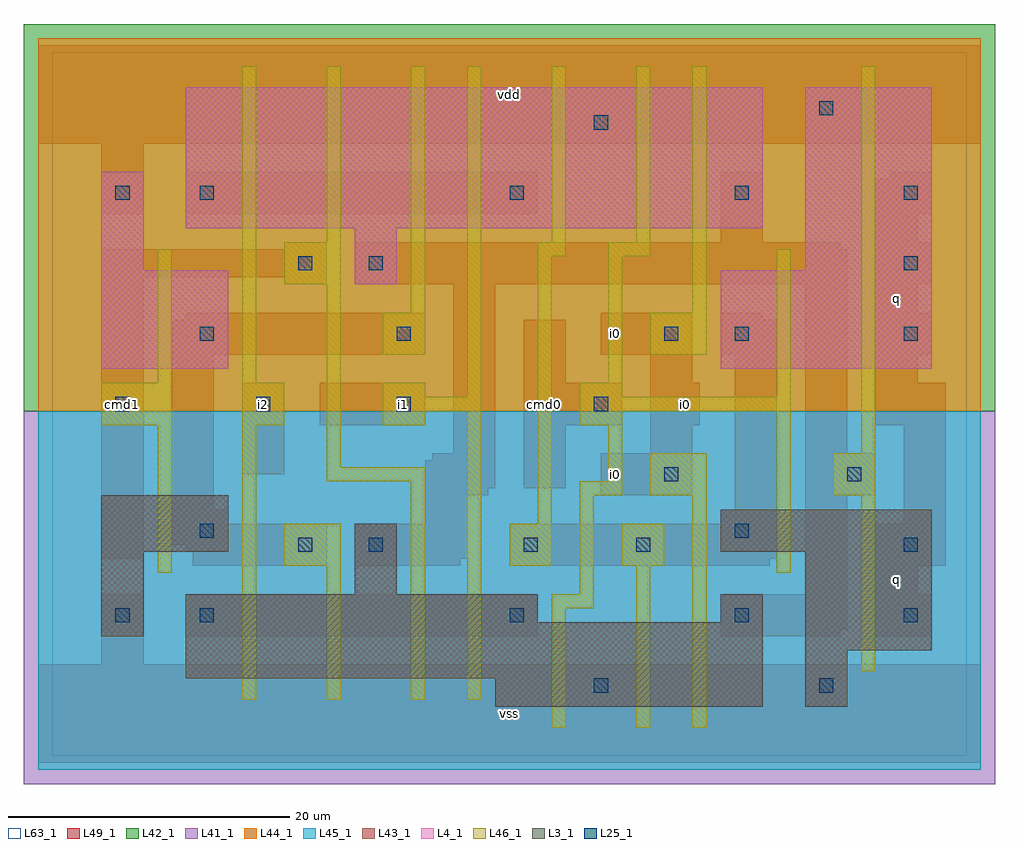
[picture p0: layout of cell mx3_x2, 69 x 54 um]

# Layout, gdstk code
import gdstk
lib = gdstk.Library(unit=1e-6, precision=1e-09)
def R(c, l, rs):  # rectangles x0, y0, x1, y1
    for r in rs: c.add(gdstk.rectangle(r[:2], r[2:], *l))
def A(c, l, x, y, w, h, nx, ny, dx, dy):  # array of equal rectangles
    R(c, l, [(x+i*dx, y+j*dy, x+i*dx+w, y+j*dy+h) for i in range(nx) for j in range(ny)])
L3_1 = (3, 1)
L4_1 = (4, 1)
L25_1 = (25, 1)
L41_1 = (41, 1)
L42_1 = (42, 1)
L43_1 = (43, 1)
L44_1 = (44, 1)
L45_1 = (45, 1)
L46_1 = (46, 1)
L49_1 = (49, 1)
L63_1 = (63, 1)

mx3_x2 = lib.new_cell('mx3_x2')
R(mx3_x2, L3_1, [(31.5,3.5,50.5,5.5), (53.5,3.5,56.5,7.5), (9.5,5.5,50.5,9.5), (53.5,7.5,62.5,14.5), (3.5,8.5,6.5,14.5), (9.5,9.5,34.5,11.5), (47.5,9.5,50.5,11.5), (21.5,11.5,24.5,16.5), (3.5,14.5,12.5,18.5), (47.5,14.5,62.5,17.5)])
R(mx3_x2, L4_1, [(3.5,27.5,12.5,34.5), (47.5,27.5,62.5,34.5), (21.5,33.5,24.5,37.5), (3.5,34.5,6.5,41.5), (53.5,34.5,62.5,47.5), (9.5,37.5,50.5,47.5)])
A(mx3_x2, L25_1, 38.5, 4.5, 1, 1, 1, 3, 0, 20)
A(mx3_x2, L25_1, 4.5, 24.5, 1, 1, 3, 1, 10, 0)
A(mx3_x2, L25_1, 60.5, 29.5, 1, 1, 1, 3, 0, 5)
R(mx3_x2, L25_1, [(54.5,4.5,55.5,5.5), (4.5,9.5,5.5,10.5), (10.5,9.5,11.5,10.5), (32.5,9.5,33.5,10.5), (48.5,9.5,49.5,10.5), (60.5,9.5,61.5,10.5), (17.5,14.5,18.5,15.5), (22.5,14.5,23.5,15.5), (33.5,14.5,34.5,15.5), (41.5,14.5,42.5,15.5), (60.5,14.5,61.5,15.5), (10.5,15.5,11.5,16.5), (48.5,15.5,49.5,16.5), (43.5,19.5,44.5,20.5), (56.5,19.5,57.5,20.5), (10.5,29.5,11.5,30.5), (24.5,29.5,25.5,30.5), (43.5,29.5,44.5,30.5), (48.5,29.5,49.5,30.5), (17.5,34.5,18.5,35.5), (22.5,34.5,23.5,35.5), (4.5,39.5,5.5,40.5), (10.5,39.5,11.5,40.5), (32.5,39.5,33.5,40.5), (48.5,39.5,49.5,40.5), (54.5,45.5,55.5,46.5)])
R(mx3_x2, L41_1, [(-2,-2,67,24.5)])
R(mx3_x2, L42_1, [(-2,24.5,67,52)])
R(mx3_x2, L43_1, [(31.5,3.5,50.5,5.5), (53.5,3.5,56.5,7.5), (9.5,5.5,50.5,9.5), (53.5,7.5,62.5,14.5), (3.5,8.5,6.5,14.5), (9.5,9.5,34.5,11.5), (47.5,9.5,50.5,11.5), (21.5,11.5,24.5,16.5), (3.5,14.5,12.5,18.5), (47.5,14.5,62.5,17.5), (3.5,27.5,12.5,34.5), (47.5,27.5,62.5,34.5), (21.5,33.5,24.5,37.5), (3.5,34.5,6.5,41.5), (53.5,34.5,62.5,47.5), (9.5,37.5,50.5,47.5)])
R(mx3_x2, L44_1, [(-1,24.5,66,51)])
R(mx3_x2, L45_1, [(-1,-1,66,24.5)])
R(mx3_x2, L46_1, [(35.5,2,36.5,10.5), (41.5,2,42.5,13.5), (45.5,2,46.5,18.5), (13.5,4,14.5,23.5), (19.5,4,20.5,13.5), (25.5,4,26.5,19.5), (29.5,4,30.5,24.5), (57.5,6,58.5,18.5), (35.5,10.5,38.5,11.5), (37.5,11.5,38.5,18.5), (7.5,13,8.5,23.5), (51.5,13,52.5,24.5), (16.5,13.5,20.5,16.5), (32.5,13.5,35.5,16.5), (40.5,13.5,43.5,16.5), (34.5,16.5,35.5,35.5), (37.5,18.5,40.5,19.5), (42.5,18.5,46.5,21.5), (55.5,18.5,58.5,21.5), (19.5,19.5,26.5,20.5), (39.5,19.5,40.5,23.5), (19.5,20.5,20.5,33.5), (57.5,21.5,58.5,49), (3.5,23.5,8.5,26.5), (13.5,23.5,16.5,26.5), (23.5,23.5,26.5,24.5), (37.5,23.5,40.5,24.5), (23.5,24.5,30.5,25.5), (37.5,24.5,52.5,25.5), (23.5,25.5,26.5,26.5), (29.5,25.5,30.5,49), (37.5,25.5,40.5,26.5), (51.5,25.5,52.5,36), (7.5,26.5,8.5,36), (13.5,26.5,14.5,49), (39.5,26.5,40.5,35.5), (23.5,28.5,26.5,31.5), (42.5,28.5,46.5,31.5), (25.5,31.5,26.5,49), (45.5,31.5,46.5,49), (16.5,33.5,20.5,36.5), (34.5,35.5,36.5,36.5), (39.5,35.5,42.5,36.5), (19.5,36.5,20.5,49), (35.5,36.5,36.5,49), (41.5,36.5,42.5,49)])
A(mx3_x2, L49_1, 58.5, 26.5, 3, 2, 1, 3, 0, 5)
R(mx3_x2, L49_1, [(-1,-0.5,66,6.5), (3.5,6.5,6.5,11.5), (9.5,8.5,34.5,11.5), (47.5,8.5,56,9), (58.5,8.5,62.5,11.5), (47.5,9,56.5,11.5), (53.5,11.5,56.5,18.5), (58.5,11.5,61.5,13.5), (10,13.5,19.5,14.5), (21.5,13.5,29,14), (32.5,13.5,51,14), (58.5,13.5,63.5,16.5), (3.5,14,6.5,34), (21.5,14,29.5,16.5), (32.5,14,51.5,16.5), (9.5,14.5,19.5,15), (8.5,15,19.5,16.5), (8.5,16.5,12.5,17.5), (26.5,16.5,29.5,18.5), (47.5,16.5,51.5,17.5), (60.5,16.5,63.5,23.5), (8.5,17.5,11.5,28.5), (48.5,17.5,51.5,28.5), (26.5,18.5,31,19), (39,18.5,45.5,21.5), (53.5,18.5,58.5,21.5), (26.5,19,31.5,21), (33.5,19,36.5,23.5), (13.5,20,16.5,26.5), (27,21,31.5,21.5), (28.5,21.5,31.5,33.5), (42.5,21.5,45.5,23.5), (53.5,21.5,56.5,33.5), (19,23.5,26.5,26.5), (33.5,23.5,40.5,26.5), (42.5,23.5,46,26.5), (58.5,23.5,63.5,26.5), (33.5,26.5,36.5,31), (42.5,26.5,45.5,28.5), (8.5,28.5,26.5,31), (39,28.5,45.5,31.5), (47.5,28.5,51.5,31), (58.5,28.5,62.5,31.5), (9.5,31,26.5,31.5), (47.5,31,50.5,31.5), (16.5,33.5,19.5,34), (21.5,33.5,56.5,36), (58.5,33.5,62.5,36.5), (3.5,34,19.5,36), (16.5,36,19.5,36.5), (21.5,36,56,36.5), (47.5,36.5,50.5,41.5), (3.5,38.5,6.5,43.5), (9.5,38.5,34.5,41.5), (58.5,38.5,62.5,41), (59.5,41,62.5,41.5), (-1,43.5,66,50.5)])
R(mx3_x2, L63_1, [(0,0,65,50)])
mx3_x2.add(gdstk.Label('cmd1', (5,25), layer=49, texttype=1))
mx3_x2.add(gdstk.Label('cmd1', (5,25), layer=49, texttype=1))
mx3_x2.add(gdstk.Label('i2', (15,25), layer=49, texttype=1))
mx3_x2.add(gdstk.Label('i2', (15,25), layer=49, texttype=1))
mx3_x2.add(gdstk.Label('vss', (32.5,3), layer=49, texttype=1))
mx3_x2.add(gdstk.Label('vss', (32.5,3), layer=49, texttype=1))
mx3_x2.add(gdstk.Label('i1', (25,25), layer=49, texttype=1))
mx3_x2.add(gdstk.Label('i1', (25,25), layer=49, texttype=1))
mx3_x2.add(gdstk.Label('cmd0', (35,25), layer=49, texttype=1))
mx3_x2.add(gdstk.Label('cmd0', (35,25), layer=49, texttype=1))
mx3_x2.add(gdstk.Label('vdd', (32.5,47), layer=49, texttype=1))
mx3_x2.add(gdstk.Label('vdd', (32.5,47), layer=49, texttype=1))
mx3_x2.add(gdstk.Label('i0', (40,20), layer=49, texttype=1))
mx3_x2.add(gdstk.Label('i0', (40,20), layer=49, texttype=1))
mx3_x2.add(gdstk.Label('i0', (45,25), layer=49, texttype=1))
mx3_x2.add(gdstk.Label('i0', (45,25), layer=49, texttype=1))
mx3_x2.add(gdstk.Label('i0', (40,30), layer=49, texttype=1))
mx3_x2.add(gdstk.Label('i0', (40,30), layer=49, texttype=1))
mx3_x2.add(gdstk.Label('q', (60,12.5), layer=49, texttype=1))
mx3_x2.add(gdstk.Label('q', (60,12.5), layer=49, texttype=1))
mx3_x2.add(gdstk.Label('q', (60,32.5), layer=49, texttype=1))
mx3_x2.add(gdstk.Label('q', (60,32.5), layer=49, texttype=1))

lib.write_gds('mx3_x2.gds')
